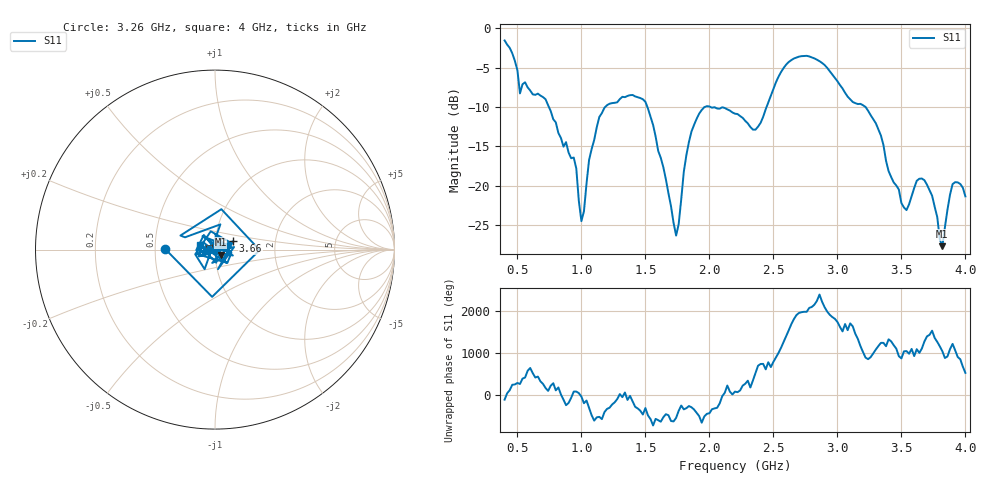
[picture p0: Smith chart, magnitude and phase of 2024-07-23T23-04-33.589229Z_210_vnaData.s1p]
!Created with skrf (http://scikit-rf.org).
# Hz S RI R 50.0
!freq ReS11 ImS11
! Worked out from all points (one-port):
!   181 points, 400 MHz to 4 GHz, reference 50 ohm
!   lowest |S11| = -27.7 dB at 3.82 GHz (marker M1), VSWR 1.09, Z = 53.1 - j2.92 ohm
!   |S11| at or under -10 dB: 745.6 MHz to 1.187 GHz (441.4 MHz wide, 45.7 % of centre); 1.515 GHz to 1.966 GHz (451.3 MHz wide, 25.9 % of centre); 3.219 GHz to end of sweep (the widest 3 of 4)
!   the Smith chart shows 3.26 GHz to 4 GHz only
!   S11 on the Smith chart (normalised r, x): 3.26 GHz: 0.56, +0.01; 3.66 GHz: 1.22, +0.11; 4 GHz: 0.85, +0.04
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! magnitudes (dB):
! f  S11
! 400 MHz  -1.6
! 480 MHz  -4.1
! 520 MHz  -8.3
! 720 MHz  -9.0
! 860 MHz  -15.1
! 940 MHz  -16.4
! 1 GHz  -24.5
! 1.06 GHz  -16.7
! 1.14 GHz  -11.3
! 1.3 GHz  -9.0
! 1.5 GHz  -9.4
! 1.74 GHz  -26.4
! 1.76 GHz  -24.9
! 1.82 GHz  -16.1
! 1.92 GHz  -10.9
! 2.2 GHz  -10.9
! 2.36 GHz  -12.9
! 2.66 GHz  -3.9
! 2.88 GHz  -4.4
! 3.1 GHz  -9.0
! 3.26 GHz  -11.1
! 3.5 GHz  -22.2
! 3.56 GHz  -22.4
! 3.66 GHz  -19.1
! 3.74 GHz  -21.3
! 3.82 GHz  -27.7
! 3.9 GHz  -19.8
! 4 GHz  -21.4
